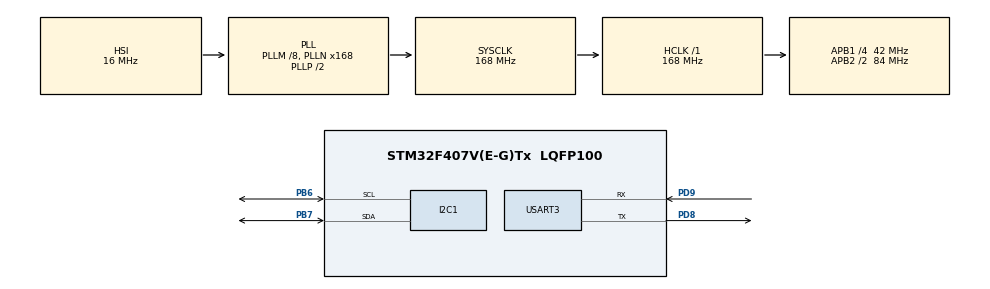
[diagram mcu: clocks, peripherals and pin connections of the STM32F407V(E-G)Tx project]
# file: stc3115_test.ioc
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Mcu.Family=STM32F4
Mcu.Name=STM32F407V(E-G)Tx
Mcu.Package=LQFP100
NVIC.PriorityGroup=NVIC_PRIORITYGROUP_4
PB6.GPIO_Pu=GPIO_PULLUP
PB6.Mode=I2C
PB6.Signal=I2C1_SCL
PB7.GPIO_Pu=GPIO_PULLUP
PB7.Mode=I2C
PB7.Signal=I2C1_SDA
PD8.Mode=Asynchronous
PD8.Signal=USART3_TX
PD9.Mode=Asynchronous
PD9.Signal=USART3_RX
PH0-OSC_IN.Mode=HSE-External-Oscillator
PH0-OSC_IN.Signal=RCC_OSC_IN
PH1-OSC_OUT.Mode=HSE-External-Oscillator
PH1-OSC_OUT.Signal=RCC_OSC_OUT
ProjectManager.HeapSize=0x200
ProjectManager.StackSize=0x400
ProjectManager.TargetToolchain=STM32CubeIDE
RCC.48MHZClocksFreq_Value=84000000
RCC.AHBFreq_Value=168000000
RCC.APB1CLKDivider=RCC_HCLK_DIV4
RCC.APB1Freq_Value=42000000
RCC.APB1TimFreq_Value=84000000
RCC.APB2CLKDivider=RCC_HCLK_DIV2
RCC.APB2Freq_Value=84000000
RCC.APB2TimFreq_Value=168000000
RCC.CortexFreq_Value=168000000
RCC.HCLKFreq_Value=168000000
RCC.HSE_VALUE=8000000
RCC.HSI_VALUE=16000000
RCC.LSE_VALUE=32768
RCC.PLLM=8
RCC.PLLN=168
RCC.SYSCLKFreq_VALUE=168000000
RCC.SYSCLKSource=RCC_SYSCLKSOURCE_PLLCLK
RCC.VCOOutputFreq_Value=336000000
USART3.VirtualMode=VM_ASYNC
board=custom

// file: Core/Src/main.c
/* USER CODE BEGIN Header */
/**
  ******************************************************************************
  * @file           : main.c
  * @brief          : Main program body
  ******************************************************************************
  * @attention
  *
  * Copyright (c) 2024 STMicroelectronics.
  * All rights reserved.
  *
  * This software is licensed under terms that can be found in the LICENSE file
  * in the root directory of this software component.
  * If no LICENSE file comes with this software, it is provided AS-IS.
  *
  ******************************************************************************
  */
#include "stc3115_Driver.h"
#include <stdio.h>
/* USER CODE END Header */
#include "main.h"
#include "i2c.h"
#include "usart.h"
#include "gpio.h"

void SystemClock_Config(void);

int main(void)
{
  /* USER CODE BEGIN 1 */
	STC3115_ConfigData_TypeDef STC3115_ConfigData;
	STC3115_BatteryData_TypeDef STC3115_BatteryData;
  /* USER CODE END 1 */

  /* MCU Configuration--------------------------------------------------------*/

  /* Reset of all peripherals, Initializes the Flash interface and the Systick. */
  HAL_Init();

  /* Configure the system clock */
  SystemClock_Config();

  /* Initialize all configured peripherals */
  MX_GPIO_Init();
  MX_I2C1_Init();
  MX_USART3_UART_Init();
  /* USER CODE BEGIN 2 */
  int8_t status1,status2;
  status1 = GasGauge_Initialization(&STC3115_ConfigData, &STC3115_BatteryData);
  HAL_UART_Transmit(&huart3, (uint8_t *)"Hello, PC!\r\n", 13, 10);
  char buffer[100]="AAAAAAAAAAAAAAAAAAAAAAAAAAAAAAAAAAAAAAAAAAAAAAAAAAAAAAAAAAAAAAAAAAAAAAAAAAAAAAAAAAAAAAAAAAAAAAAAAAA";
  /* USER CODE END 2 */

  /* Infinite loop */
  while (1)
  {

    /* USER CODE BEGIN 3 */
		/* Update Gas Gauge driver */
	  HAL_Delay(5000);
	  status2 = GasGauge_Task(&STC3115_ConfigData, &STC3115_BatteryData);
	  sprintf(buffer," STATUS: %d %d, V: %d mV, time: %d s,Temp: %d °C\r\n",
			status1,
			status2,
			STC3115_BatteryData.Voltage,
			STC3115_BatteryData.RemTime,
			STC3115_BatteryData.Temperature/10
);
	  HAL_UART_Transmit(&huart3, (uint8_t*)buffer, sizeof(buffer), 10);
  }
  /* USER CODE END 3 */
}

void SystemClock_Config(void)
{
  RCC_OscInitTypeDef RCC_OscInitStruct = {0};
  RCC_ClkInitTypeDef RCC_ClkInitStruct = {0};

  /** Configure the main internal regulator output voltage
  */
  __HAL_RCC_PWR_CLK_ENABLE();
  __HAL_PWR_VOLTAGESCALING_CONFIG(PWR_REGULATOR_VOLTAGE_SCALE1);

  /** Initializes the RCC Oscillators according to the specified parameters
  * in the RCC_OscInitTypeDef structure.
  */
  RCC_OscInitStruct.OscillatorType = RCC_OSCILLATORTYPE_HSI;
  RCC_OscInitStruct.HSIState = RCC_HSI_ON;
  RCC_OscInitStruct.HSICalibrationValue = RCC_HSICALIBRATION_DEFAULT;
  RCC_OscInitStruct.PLL.PLLState = RCC_PLL_ON;
  RCC_OscInitStruct.PLL.PLLSource = RCC_PLLSOURCE_HSI;
  RCC_OscInitStruct.PLL.PLLM = 8;
  RCC_OscInitStruct.PLL.PLLN = 168;
  RCC_OscInitStruct.PLL.PLLP = RCC_PLLP_DIV2;
  RCC_OscInitStruct.PLL.PLLQ = 4;
  if (HAL_RCC_OscConfig(&RCC_OscInitStruct) != HAL_OK)
  {
    Error_Handler();
  }

  /** Initializes the CPU, AHB and APB buses clocks
  */
  RCC_ClkInitStruct.ClockType = RCC_CLOCKTYPE_HCLK|RCC_CLOCKTYPE_SYSCLK
                              |RCC_CLOCKTYPE_PCLK1|RCC_CLOCKTYPE_PCLK2;
  RCC_ClkInitStruct.SYSCLKSource = RCC_SYSCLKSOURCE_PLLCLK;
  RCC_ClkInitStruct.AHBCLKDivider = RCC_SYSCLK_DIV1;
  RCC_ClkInitStruct.APB1CLKDivider = RCC_HCLK_DIV4;
  RCC_ClkInitStruct.APB2CLKDivider = RCC_HCLK_DIV2;

  if (HAL_RCC_ClockConfig(&RCC_ClkInitStruct, FLASH_LATENCY_5) != HAL_OK)
  {
    Error_Handler();
  }
}

void Error_Handler(void)
{
  __disable_irq();
  while (1)
  {
  }
}
